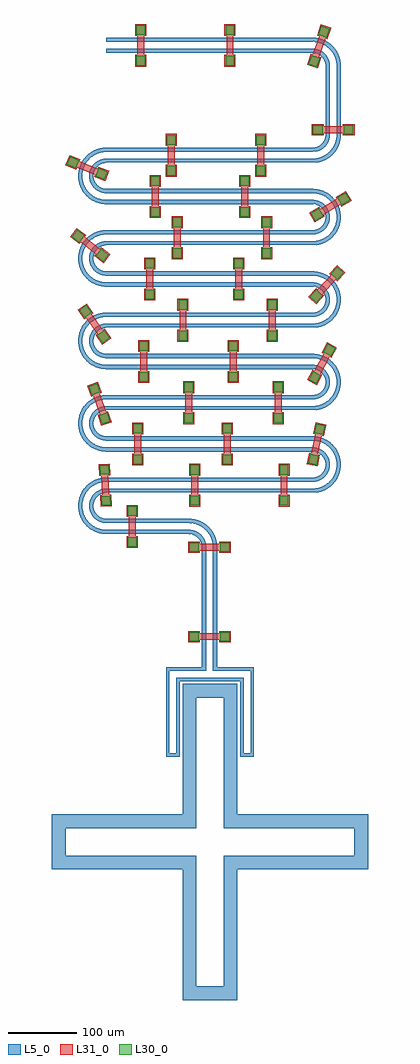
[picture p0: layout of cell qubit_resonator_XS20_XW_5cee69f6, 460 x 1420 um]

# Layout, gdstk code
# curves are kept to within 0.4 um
import gdstk
lib = gdstk.Library(unit=1e-6, precision=1e-09)
def R(c, l, rs):  # rectangles x0, y0, x1, y1
    for r in rs: c.add(gdstk.rectangle(r[:2], r[2:], *l))
def P(c, l, *ps):  # polygons
    for p in ps: c.add(gdstk.Polygon(p, *l))
L5_0 = (5, 0)
L30_0 = (30, 0)
L31_0 = (31, 0)

qubit_resonator_xs20_xw_ = lib.new_cell('qubit_resonator_XS20_XW_5cee69f6')
P(qubit_resonator_xs20_xw_, L5_0, [(-40,-230),(-40,-40),(-230,-40),(-230,40),(-40,40),(-40,210),(-20,210),(-20,20),(-210,20),(-210,-20),(-20,-20),(-20,-210),(20,-210),(20,-20),(210,-20),(210,20),(20,20),(20,210),(-40,210),(-40,230),(40,230),(40,40),(230,40),(230,-40),(40,-40),(40,-230)],
  [(-64,124),(-64,254),(-11.73,254),(-11.73,428.956),(-12.679,434.929),(-15.08,439.774),(-18.75,443.747),(-23.39,446.524),(-28.624,447.883),(-152.031,448.019),(-159.763,449.006),(-167.169,451.438),(-173.98,455.228),(-180.849,461.18),(-185.57,467.383),(-189.476,475.59),(-191.479,484.455),(-191.602,492.249),(-190.249,499.926),(-186.871,508.364),(-180.849,516.82),(-172.897,523.493),(-163.524,527.954),(-153.33,529.919),(151.675,530.154),(155.768,531.147),(159.541,533.017),(162.381,535.25),(165.088,538.476),(167.018,542.22),(167.98,545.701),(168.247,549.904),(167.733,553.479),(165.414,559.017),(161.482,563.554),(156.331,566.638),(149.873,567.989),(-150.817,568),(-158.49,568.74),(-167.169,571.438),(-175.04,575.983),(-181.717,582.15),(-186.871,589.636),(-190.249,598.074),(-191.685,607.049),(-191.108,616.12),(-188.548,624.841),(-185.57,630.617),(-182.553,634.854),(-178.068,639.557),(-173.98,642.772),(-164.753,647.529),(-159.763,648.994),(-153.33,649.919),(151.675,650.154),(155.768,651.147),(159.029,652.7),(162.381,655.25),(164.746,657.98),(166.552,661.108),(167.866,665.109),(167.866,672.891),(165.723,678.499),(161.938,683.159),(156.331,686.638),(150.475,687.96),(-150.817,688),(-158.49,688.74),(-167.169,691.438),(-173.98,695.228),(-180.849,701.18),(-186.238,708.499),(-189.882,716.826),(-191.479,724.455),(-191.479,733.545),(-189.476,742.41),(-184.867,751.711),(-181.717,755.85),(-177.085,760.409),(-172.897,763.493),(-167.169,766.562),(-162.281,768.341),(-155.92,769.672),(150.475,770.04),(154.041,770.61),(157.976,772.113),(164.016,777.02),(166.293,780.563),(167.582,783.937),(168.247,788.096),(167.98,792.299),(165.723,798.499),(161.938,803.159),(156.331,806.638),(150.475,807.96),(-150.817,808),(-158.49,808.74),(-167.169,811.438),(-173.98,815.228),(-180.849,821.18),(-185.57,827.383),(-189.476,835.59),(-191.479,844.455),(-191.479,853.545),(-189.882,861.174),(-188.026,866.033),(-184.867,871.711),(-181.717,875.85),(-177.085,880.409),(-172.897,883.493),(-167.169,886.562),(-162.281,888.341),(-155.92,889.672),(150.475,890.04),(154.041,890.61),(157.976,892.113),(164.016,897.02),(166.293,900.563),(167.582,903.937),(168.209,907.494),(168.075,911.704),(166.293,917.437),(162.381,922.75),(156.887,926.405),(150.475,927.96),(-150.817,928),(-158.49,928.74),(-165.969,930.936),(-172.897,934.507),(-179.024,939.326),(-184.867,946.289),(-188.548,953.159),(-191.108,961.88),(-191.685,970.951),(-190.576,978.666),(-188.548,984.841),(-185.57,990.617),(-181.717,995.85),(-177.085,1000.409),(-172.897,1003.493),(-167.169,1006.562),(-161.027,1008.687),(-154.627,1009.816),(149.226,1010),(156.61,1011.476),(161.015,1014.065),(164.57,1017.735),(167.018,1022.219),(168.184,1027.194),(168.21,1130.506),(166.553,1136.893),(162.811,1142.328),(157.163,1146.283),(150.776,1147.94),(-150.73,1148),(-150.73,1154),(150.856,1153.95),(159.293,1151.903),(163.446,1149.592),(166.807,1146.817),(171.843,1139.745),(174.157,1131.376),(174.116,1026.229),(172.624,1020.078),(169.402,1014.177),(165.034,1009.596),(159.293,1006.097),(154.778,1004.614),(149.667,1004.003),(-154.057,1003.842),(-159.52,1002.879),(-164.763,1001.064),(-173.228,995.812),(-177.182,991.921),(-180.471,987.453),(-183.013,982.522),(-184.744,977.252),(-185.691,970.665),(-185.199,962.922),(-183.426,956.509),(-180.471,950.547),(-175.675,944.448),(-170.577,940.171),(-164.763,936.936),(-157.354,934.632),(-150.77,934),(150.856,933.949),(159.293,931.902),(166.522,927.093),(171.306,920.806),(174.015,912.558),(174.241,907.81),(173.565,903.106),(172.01,898.615),(169.164,893.86),(165.939,890.369),(162.112,887.551),(157.82,885.508),(153.22,884.315),(-152.95,883.93),(-162.701,881.89),(-167.747,879.585),(-172.366,876.512),(-179.241,869.302),(-182.09,864.543),(-184.152,859.392),(-185.621,851.774),(-185.515,845.121),(-183.806,837.552),(-180.471,830.547),(-175.675,824.448),(-170.577,820.171),(-164.763,816.936),(-157.354,814.632),(-150.77,814),(150.856,813.949),(158.561,812.209),(165.939,807.631),(170.92,801.5),(173.89,793.341),(174.241,787.81),(173.565,783.106),(172.01,778.615),(169.634,774.499),(166.522,770.907),(162.786,767.969),(158.561,765.791),(153.22,764.315),(-152.95,763.93),(-162.701,761.89),(-171.482,757.185),(-178.582,750.197),(-181.581,745.53),(-183.806,740.448),(-185.515,732.879),(-185.621,726.226),(-184.152,718.608),(-181.041,711.5),(-177.182,706.079),(-171.482,700.815),(-164.763,696.936),(-157.354,694.632),(-150.77,694),(150.856,693.949),(158.561,692.209),(165.339,688.151),(170.513,682.18),(173.739,674.12),(174.266,669.397),(173.89,664.659),(172.623,660.078),(170.084,655.152),(166.522,650.907),(162.786,647.969),(158.561,645.791),(153.22,644.315),(-152.95,643.93),(-162.701,641.89),(-171.482,637.185),(-177.896,631.07),(-183.013,622.522),(-185.199,615.078),(-185.691,607.335),(-184.465,599.673),(-181.581,592.47),(-177.182,586.079),(-171.482,580.815),(-164.763,576.936),(-157.354,574.632),(-150.77,574),(150.856,573.949),(158.561,572.209),(165.339,568.151),(170.513,562.18),(173.565,554.894),(174.241,550.19),(173.89,544.659),(172.623,540.078),(170.084,535.152),(166.522,530.907),(162.786,527.969),(157.82,525.508),(152.435,524.202),(-152.95,523.93),(-161.651,522.253),(-169.653,518.444),(-176.441,512.748),(-181.581,505.53),(-184.465,498.327),(-185.621,491.774),(-185.515,485.121),(-183.806,477.552),(-180.471,470.547),(-175.675,464.448),(-169.653,459.556),(-163.738,456.507),(-158.441,454.859),(-151.84,454.017),(-27.565,453.799),(-21.071,452.059),(-14.966,448.404),(-10.138,443.176),(-6.978,436.801),(-5.73,428.98),(-5.73,249),(-59,249),(-59,129),(-49,129),(-49,239),(49,239),(49,129),(59,129),(59,249),(4.27,249),(4.266,429.555),(2.692,439.392),(-1.286,447.923),(-7.81,455.451),(-15.687,460.603),(-25.2,463.561),(-30.71,464),(-150.69,464),(-159.28,465.508),(-164.246,467.969),(-167.982,470.907),(-171.544,475.152),(-174.083,480.078),(-175.475,485.442),(-175.651,490.981),(-174.602,496.423),(-172.38,501.5),(-168.547,506.536),(-163.572,510.449),(-157.773,512.987),(-151.523,513.987),(149.31,514),(154.8,514.439),(161.241,516.11),(168.193,519.556),(174.215,524.448),(178.41,529.612),(181.966,536.509),(183.739,542.922),(184.231,550.665),(183.284,557.252),(181.553,562.522),(179.011,567.453),(175.722,571.921),(171.768,575.812),(163.303,581.064),(158.06,582.879),(152.597,583.842),(-154.68,584.315),(-160.021,585.791),(-165.552,588.869),(-169.623,592.629),(-172.766,597.194),(-174.825,602.338),(-175.701,607.81),(-175.35,613.341),(-173.47,619.385),(-169.623,625.371),(-164.246,630.031),(-157.773,632.987),(-151.523,633.987),(149.31,634),(154.8,634.439),(161.241,636.11),(167.249,638.97),(172.607,642.915),(177.781,648.698),(181.108,654.46),(183.529,661.832),(184.266,668.445),(183.739,675.078),(182.346,680.448),(180.121,685.53),(176.436,691.07),(172.607,695.085),(168.193,698.444),(163.303,701.064),(158.06,702.879),(152.597,703.842),(-150.69,704),(-155.461,704.452),(-160.753,706.098),(-165.552,708.869),(-169.623,712.629),(-172.38,716.5),(-174.602,721.577),(-175.651,727.019),(-175.475,732.558),(-174.083,737.922),(-170.624,744.14),(-165.552,749.131),(-159.28,752.492),(-152.316,753.949),(149.31,754),(154.8,754.439),(161.241,756.11),(167.249,758.97),(172.607,762.915),(177.781,768.698),(181.108,774.46),(183.284,780.748),(184.231,787.335),(183.914,793.981),(182.692,799.392),(180.63,804.543),(177.781,809.302),(173.423,814.331),(169.117,817.829),(164.313,820.603),(159.131,822.583),(152.597,823.842),(-154.68,824.315),(-160.021,825.791),(-164.246,827.969),(-168.547,831.464),(-171.973,835.82),(-174.083,840.078),(-175.475,845.442),(-175.651,850.981),(-174.602,856.423),(-171.544,862.848),(-166.184,868.651),(-160.021,872.209),(-152.316,873.949),(149.31,874),(154.8,874.439),(161.241,876.11),(167.249,878.97),(172.607,882.915),(177.781,888.698),(181.108,894.46),(183.284,900.748),(184.231,907.335),(183.914,913.981),(182.692,919.392),(180.63,924.543),(177.781,929.302),(173.423,934.331),(169.117,937.829),(164.313,940.603),(159.131,942.583),(152.597,943.842),(-154.68,944.315),(-160.021,945.791),(-164.246,947.969),(-167.982,950.907),(-171.544,955.152),(-174.083,960.078),(-175.35,964.659),(-175.701,970.19),(-175.025,974.894),(-171.973,982.18),(-166.799,988.151),(-160.021,992.209),(-152.316,993.949),(149.825,994.004),(156.981,994.86),(163.303,996.936),(170.906,1001.488),(176.782,1007.364),(181.334,1014.967),(183.831,1023.47),(184.27,1028.98),(184.16,1131.774),(183.284,1137.252),(181.334,1143.033),(178.41,1148.387),(174.601,1153.153),(170.022,1157.185),(164.812,1160.36),(159.131,1162.582),(153.149,1163.785),(-150.73,1164),(-150.73,1170),(149.314,1170),(157.667,1169.131),(164.508,1167.063),(170.331,1164.178),(175.625,1160.408),(180.256,1155.85),(184.109,1150.616),(187.087,1144.84),(189.115,1138.666),(190.188,1131.6),(189.853,1023.165),(187.57,1014.368),(183.406,1006.289),(177.563,999.327),(170.331,993.822),(160.821,989.66),(149.921,988.005),(-151.935,987.96),(-157.791,986.638),(-163.398,983.159),(-167.183,978.499),(-169.326,972.891),(-169.326,965.109),(-168.012,961.108),(-165.848,957.494),(-162.942,954.446),(-159.436,952.113),(-155.501,950.61),(-151.935,950.04),(149.357,950),(155.748,949.486),(163.293,947.529),(169.205,944.829),(174.615,941.229),(179.389,936.82),(183.407,931.711),(186.566,926.033),(188.789,919.926),(190.019,913.545),(190.142,905.751),(188.789,898.074),(186.007,890.793),(181.897,884.169),(176.608,878.443),(170.331,873.821),(163.293,870.471),(155.748,868.514),(149.357,868),(-151.333,867.989),(-157.228,866.853),(-162.474,863.934),(-166.548,859.524),(-168.872,854.641),(-169.669,850.506),(-169.535,846.296),(-168.478,842.22),(-166.548,838.476),(-163.841,835.25),(-159.967,832.398),(-156.083,830.771),(-151.935,830.04),(149.357,830),(155.748,829.486),(162.064,827.954),(168.058,825.443),(173.58,822.017),(178.491,817.761),(182.669,812.783),(186.007,807.207),(188.422,801.174),(189.854,794.835),(190.225,787.049),(189.116,779.334),(186.566,771.967),(182.669,765.217),(177.564,759.326),(171.437,754.507),(163.293,750.471),(155.748,748.514),(149.357,748),(-151.333,747.989),(-156.658,747.05),(-161.503,744.649),(-165.476,740.98),(-168.478,735.78),(-169.612,731.106),(-169.612,726.894),(-168.684,722.786),(-166.874,718.983),(-164.27,715.673),(-161.001,713.017),(-157.228,711.147),(-152.536,710.087),(149.357,710),(155.748,709.486),(160.821,708.341),(166.892,706.021),(172.52,702.772),(177.564,698.674),(181.897,693.831),(185.411,688.364),(188.016,682.41),(189.648,676.12),(190.225,667.049),(189.116,659.334),(186.566,651.967),(182.669,645.217),(177.564,639.326),(171.437,634.507),(163.293,630.471),(155.748,628.514),(149.357,628),(-151.333,627.989),(-156.083,627.229),(-161.001,624.983),(-165.088,621.441),(-168.012,616.892),(-169.326,612.891),(-169.707,608.096),(-169.042,603.937),(-167.183,599.501),(-164.686,596.109),(-161.001,593.017),(-157.228,591.147),(-152.536,590.087),(149.357,590),(155.748,589.486),(160.821,588.341),(166.892,586.021),(172.52,582.772),(177.564,578.674),(181.897,573.831),(185.411,568.364),(187.571,563.633),(189.402,557.397),(190.266,549.651),(189.402,540.603),(187.088,533.159),(182.669,525.217),(177.564,519.326),(171.437,514.507),(163.293,510.471),(155.748,508.514),(149.357,508),(-151.333,507.989),(-156.083,507.229),(-160.489,505.3),(-164.27,502.327),(-167.183,498.499),(-168.872,494.641),(-169.669,490.506),(-169.44,485.701),(-168.253,481.66),(-166.206,477.98),(-163.398,474.841),(-159.436,472.113),(-155.501,470.61),(-150.643,470),(-27.481,469.871),(-19.804,468.518),(-13.108,466.02),(-6.947,462.398),(-1.057,457.293),(3.406,451.711),(6.831,445.438),(9.115,438.666),(10.188,431.6),(10.27,254),(64,254),(64,124),(44,124),(44,234),(-44,234),(-44,124)])
R(qubit_resonator_xs20_xw_, L30_0, [(-30.23,292.282,-16.23,305.282), (14.77,292.282,28.77,305.282), (-30.23,422.282,-16.23,435.282), (14.77,422.282,28.77,435.282), (-119.889,429.5,-106.889,443.5), (-119.889,474.5,-106.889,488.5), (-28.815,489.5,-15.815,503.5), (101.185,489.5,114.185,503.5), (-28.815,534.5,-15.815,548.5), (101.185,534.5,114.185,548.5), (-111.401,549.5,-98.401,563.5), (18.599,549.5,31.599,563.5), (-111.401,594.5,-98.401,608.5), (18.599,594.5,31.599,608.5), (-37.303,609.5,-24.303,623.5), (92.697,609.5,105.697,623.5), (-37.303,654.5,-24.303,668.5), (92.697,654.5,105.697,668.5), (-102.913,669.5,-89.913,683.5), (27.087,669.5,40.087,683.5), (-102.913,714.5,-89.913,728.5), (27.087,714.5,40.087,728.5), (-45.79,729.5,-32.79,743.5), (84.21,729.5,97.21,743.5), (-45.79,774.5,-32.79,788.5), (84.21,774.5,97.21,788.5), (-94.426,789.5,-81.426,803.5), (35.574,789.5,48.574,803.5), (-94.426,834.5,-81.426,848.5), (35.574,834.5,48.574,848.5), (-54.278,849.5,-41.278,863.5), (75.722,849.5,88.722,863.5), (-54.278,894.5,-41.278,908.5), (75.722,894.5,88.722,908.5), (-85.938,909.5,-72.938,923.5), (44.062,909.5,57.062,923.5), (-85.938,954.5,-72.938,968.5), (44.062,954.5,57.062,968.5), (-62.766,969.5,-49.766,983.5), (67.234,969.5,80.234,983.5), (-62.766,1014.5,-49.766,1028.5), (67.234,1014.5,80.234,1028.5), (149.77,1029.841,163.77,1042.841), (194.77,1029.841,208.77,1042.841), (-107.448,1129.5,-94.448,1143.5), (22.552,1129.5,35.552,1143.5), (-107.448,1174.5,-94.448,1188.5), (22.552,1174.5,35.552,1188.5)])
P(qubit_resonator_xs20_xw_, L30_0, [(-157.403,489.179),(-158.069,503.163),(-145.084,503.782),(-144.418,489.798)],
  [(-159.544,534.128),(-160.21,548.112),(-147.225,548.731),(-146.559,534.747)],
  [(155.382,548.228),(142.658,550.891),(145.525,564.594),(158.25,561.931)],
  [(164.599,592.274),(151.874,594.937),(154.742,608.64),(167.466,605.977)],
  [(-157.108,607.318),(-161.687,620.548),(-149.402,624.799),(-144.823,611.569)],
  [(-171.826,649.843),(-176.405,663.073),(-164.12,667.324),(-159.541,654.094)],
  [(154.847,666.574),(143.389,672.714),(150,685.054),(161.459,678.915)],
  [(176.1,706.24),(164.641,712.379),(171.253,724.72),(182.711,718.58)],
  [(-156.31,725.636),(-164.431,737.04),(-153.841,744.58),(-145.721,733.176)],
  [(-182.413,762.292),(-190.533,773.696),(-179.944,781.236),(-171.823,769.832)],
  [(154.7,784.66),(145.15,793.481),(154.649,803.765),(164.199,794.945)],
  [(185.233,817.717),(175.683,826.537),(185.182,836.822),(194.732,828.001)],
  [(-155.086,844.262),(-166.091,852.916),(-158.055,863.135),(-147.05,854.481)],
  [(-190.459,872.079),(-201.464,880.733),(-193.428,890.952),(-182.423,882.298)],
  [(153.216,903.375),(146.539,914.528),(158.55,921.72),(165.228,910.566)],
  [(191.826,926.49),(185.148,937.644),(197.16,944.835),(203.837,933.682)],
  [(-153.546,963.302),(-166.543,968.505),(-161.711,980.574),(-148.714,975.37)],
  [(-195.323,980.026),(-208.32,985.23),(-203.488,997.298),(-190.491,992.095)],
  [(155.612,1127.388),(143.294,1131.542),(147.768,1144.808),(160.086,1140.654)],
  [(169.992,1170.028),(157.674,1174.182),(162.148,1187.448),(174.466,1183.294)])
P(qubit_resonator_xs20_xw_, L31_0, [(-31.73,290.782),(-31.73,306.782),(-14.73,306.782),(-14.73,303.782),(13.27,303.782),(13.27,306.782),(30.27,306.782),(30.27,290.782),(13.27,290.782),(13.27,293.782),(-14.73,293.782),(-14.73,290.782)],
  [(-31.73,420.782),(-31.73,436.782),(-14.73,436.782),(-14.73,433.782),(13.27,433.782),(13.27,436.782),(30.27,436.782),(30.27,420.782),(13.27,420.782),(13.27,423.782),(-14.73,423.782),(-14.73,420.782)],
  [(-121.389,428),(-121.389,445),(-118.389,445),(-118.389,473),(-121.389,473),(-121.389,490),(-105.389,490),(-105.389,473),(-108.389,473),(-108.389,445),(-105.389,445),(-105.389,428)],
  [(-30.315,488),(-30.315,505),(-27.315,505),(-27.315,533),(-30.315,533),(-30.315,550),(-14.315,550),(-14.315,533),(-17.315,533),(-17.315,505),(-14.315,505),(-14.315,488)],
  [(99.685,488),(99.685,505),(102.685,505),(102.685,533),(99.685,533),(99.685,550),(115.685,550),(115.685,533),(112.685,533),(112.685,505),(115.685,505),(115.685,488)],
  [(-158.83,487.609),(-159.639,504.59),(-156.642,504.733),(-157.974,532.701),(-160.971,532.558),(-161.78,549.539),(-145.798,550.301),(-144.989,533.32),(-147.986,533.177),(-146.654,505.209),(-143.657,505.352),(-142.848,488.371)],
  [(-112.901,548),(-112.901,565),(-109.901,565),(-109.901,593),(-112.901,593),(-112.901,610),(-96.901,610),(-96.901,593),(-99.901,593),(-99.901,565),(-96.901,565),(-96.901,548)],
  [(17.099,548),(17.099,565),(20.099,565),(20.099,593),(17.099,593),(17.099,610),(33.099,610),(33.099,593),(30.099,593),(30.099,565),(33.099,565),(33.099,548)],
  [(156.543,546.453),(140.883,549.73),(144.364,566.369),(147.301,565.755),(153.035,593.161),(150.099,593.776),(153.581,610.415),(169.241,607.138),(165.76,590.499),(162.823,591.113),(157.089,563.707),(160.025,563.092)],
  [(-158.035,605.409),(-163.595,621.474),(-160.76,622.456),(-169.918,648.916),(-172.753,647.934),(-178.313,663.999),(-163.193,669.233),(-157.633,653.168),(-160.468,652.186),(-151.31,625.726),(-148.475,626.708),(-142.915,610.643)],
  [(-38.803,608),(-38.803,625),(-35.803,625),(-35.803,653),(-38.803,653),(-38.803,670),(-22.803,670),(-22.803,653),(-25.803,653),(-25.803,625),(-22.803,625),(-22.803,608)],
  [(91.197,608),(91.197,625),(94.197,625),(94.197,653),(91.197,653),(91.197,670),(107.197,670),(107.197,653),(104.197,653),(104.197,625),(107.197,625),(107.197,608)],
  [(155.461,664.544),(141.358,672.1),(149.387,687.085),(152.031,685.668),(165.255,710.349),(162.61,711.766),(170.639,726.75),(184.742,719.194),(176.713,704.209),(174.069,705.626),(160.845,680.945),(163.49,679.528)],
  [(-104.413,668),(-104.413,685),(-101.413,685),(-101.413,713),(-104.413,713),(-104.413,730),(-88.413,730),(-88.413,713),(-91.413,713),(-91.413,685),(-88.413,685),(-88.413,668)],
  [(25.587,668),(25.587,685),(28.587,685),(28.587,713),(25.587,713),(25.587,730),(41.587,730),(41.587,713),(38.587,713),(38.587,685),(41.587,685),(41.587,668)],
  [(-156.662,723.544),(-166.523,737.391),(-164.079,739.132),(-180.321,761.94),(-182.764,760.2),(-192.625,774.047),(-179.592,783.328),(-169.731,769.481),(-172.175,767.74),(-155.933,744.932),(-153.49,746.672),(-143.629,732.825)],
  [(-47.29,728),(-47.29,745),(-44.29,745),(-44.29,773),(-47.29,773),(-47.29,790),(-31.29,790),(-31.29,773),(-34.29,773),(-34.29,745),(-31.29,745),(-31.29,728)],
  [(82.71,728),(82.71,745),(85.71,745),(85.71,773),(82.71,773),(82.71,790),(98.71,790),(98.71,773),(95.71,773),(95.71,745),(98.71,745),(98.71,728)],
  [(154.784,782.541),(143.03,793.397),(154.565,805.885),(156.769,803.849),(175.767,824.418),(173.563,826.453),(185.098,838.941),(196.852,828.085),(185.317,815.597),(183.113,817.633),(164.115,797.064),(166.319,795.029)],
  [(-95.926,788),(-95.926,805),(-92.926,805),(-92.926,833),(-95.926,833),(-95.926,850),(-79.926,850),(-79.926,833),(-82.926,833),(-82.926,805),(-79.926,805),(-79.926,788)],
  [(34.074,788),(34.074,805),(37.074,805),(37.074,833),(34.074,833),(34.074,850),(50.074,850),(50.074,833),(47.074,833),(47.074,805),(50.074,805),(50.074,788)],
  [(-154.835,842.156),(-168.198,852.664),(-166.343,855.023),(-188.353,872.331),(-190.207,869.973),(-203.57,880.482),(-193.679,893.058),(-180.316,882.55),(-182.171,880.191),(-160.161,862.883),(-158.307,865.241),(-144.944,854.732)],
  [(-55.778,848),(-55.778,865),(-52.778,865),(-52.778,893),(-55.778,893),(-55.778,910),(-39.778,910),(-39.778,893),(-42.778,893),(-42.778,865),(-39.778,865),(-39.778,848)],
  [(74.222,848),(74.222,865),(77.222,865),(77.222,893),(74.222,893),(74.222,910),(90.222,910),(90.222,893),(87.222,893),(87.222,865),(90.222,865),(90.222,848)],
  [(152.7,901.317),(144.481,915.045),(159.067,923.777),(160.608,921.203),(184.631,935.586),(183.09,938.16),(197.676,946.893),(205.895,933.165),(191.309,924.433),(189.768,927.007),(165.745,912.624),(167.286,910.05)],
  [(-87.438,908),(-87.438,925),(-84.438,925),(-84.438,953),(-87.438,953),(-87.438,970),(-71.438,970),(-71.438,953),(-74.438,953),(-74.438,925),(-71.438,925),(-71.438,908)],
  [(42.562,908),(42.562,925),(45.562,925),(45.562,953),(42.562,953),(42.562,970),(58.562,970),(58.562,953),(55.562,953),(55.562,925),(58.562,925),(58.562,908)],
  [(-152.711,961.352),(-168.493,967.67),(-167.378,970.455),(-193.372,980.861),(-194.487,978.076),(-210.27,984.395),(-204.323,999.248),(-188.541,992.93),(-189.656,990.145),(-163.662,979.739),(-162.547,982.524),(-146.764,976.205)],
  [(-64.266,968),(-64.266,985),(-61.266,985),(-61.266,1013),(-64.266,1013),(-64.266,1030),(-48.266,1030),(-48.266,1013),(-51.266,1013),(-51.266,985),(-48.266,985),(-48.266,968)],
  [(65.734,968),(65.734,985),(68.734,985),(68.734,1013),(65.734,1013),(65.734,1030),(81.734,1030),(81.734,1013),(78.734,1013),(78.734,985),(81.734,985),(81.734,968)],
  [(148.27,1028.341),(148.27,1044.341),(165.27,1044.341),(165.27,1041.341),(193.27,1041.341),(193.27,1044.341),(210.27,1044.341),(210.27,1028.341),(193.27,1028.341),(193.27,1031.341),(165.27,1031.341),(165.27,1028.341)],
  [(156.554,1125.487),(141.393,1130.6),(146.826,1146.709),(149.668,1145.75),(158.616,1172.282),(155.773,1173.24),(161.206,1189.349),(176.367,1184.236),(170.934,1168.127),(168.092,1169.086),(159.144,1142.554),(161.987,1141.596)],
  [(-108.948,1128),(-108.948,1145),(-105.948,1145),(-105.948,1173),(-108.948,1173),(-108.948,1190),(-92.948,1190),(-92.948,1173),(-95.948,1173),(-95.948,1145),(-92.948,1145),(-92.948,1128)],
  [(21.052,1128),(21.052,1145),(24.052,1145),(24.052,1173),(21.052,1173),(21.052,1190),(37.052,1190),(37.052,1173),(34.052,1173),(34.052,1145),(37.052,1145),(37.052,1128)])

lib.write_gds('qubit_resonator_XS20_XW_5cee69f6.gds')
